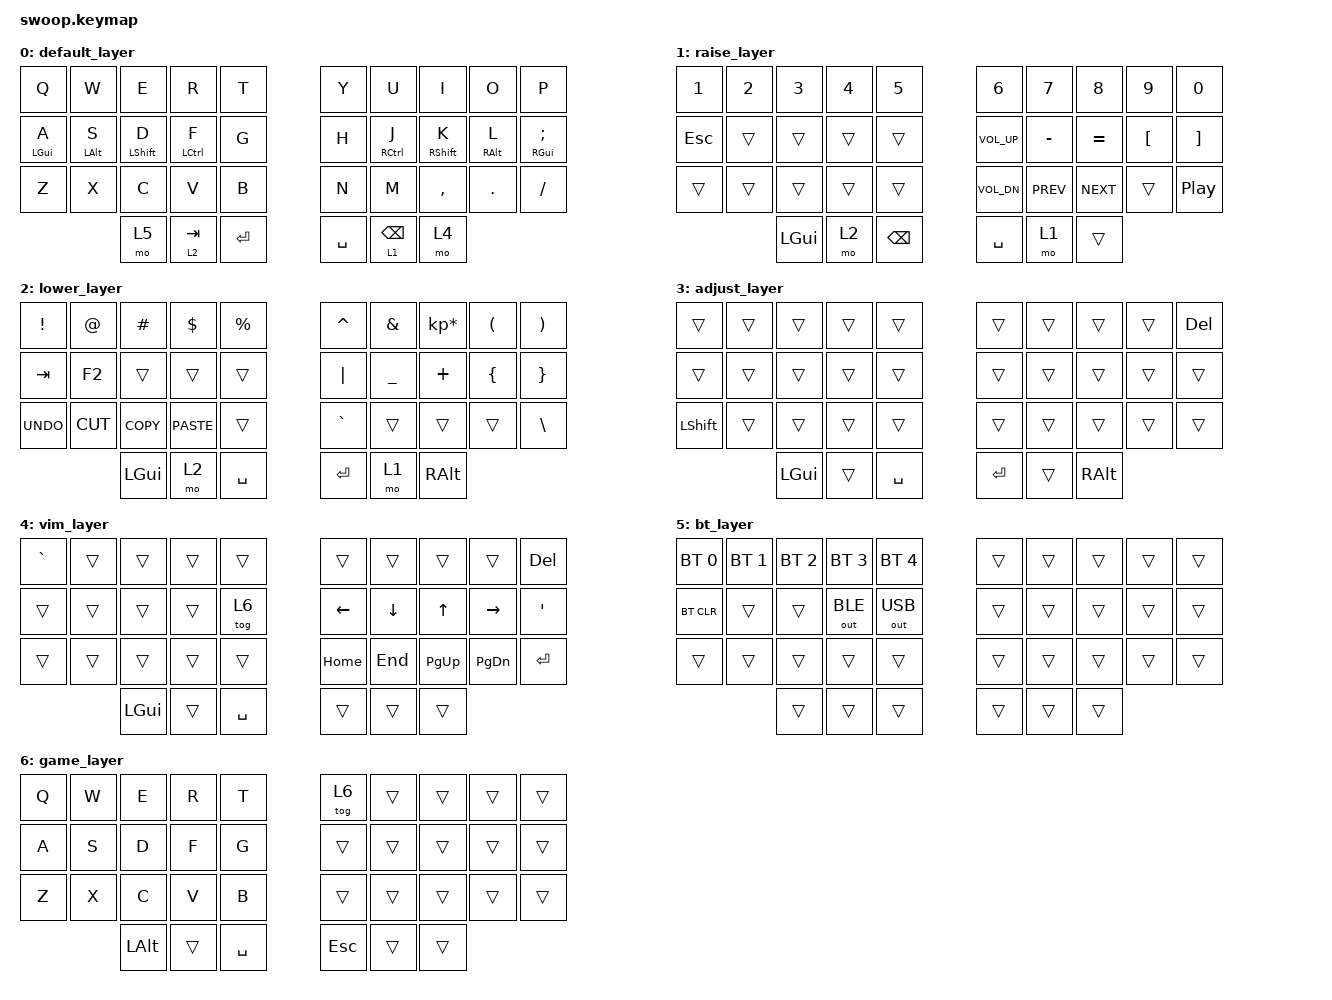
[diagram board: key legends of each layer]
/*
 * Copyright (c) 2020 The ZMK Contributors
 *
 * SPDX-License-Identifier: MIT
 */

#include <behaviors.dtsi>
#include <dt-bindings/zmk/bt.h>
#include <dt-bindings/zmk/keys.h>
#include <dt-bindings/zmk/outputs.h>

/ {
    conditional_layers {
        compatible = "zmk,conditional-layers";

        tri_layer {
            if-layers = <1 2>;
            then-layer = <3>;
        };
    };
};

&mt { tapping-term-ms = <250>; };

/ {
    behaviors {
        hm: homerow_mods {
            compatible = "zmk,behavior-hold-tap";
            label = "HOMEROW_MODS";
            #binding-cells = <2>;
            tapping-term-ms = <200>;
            quick-tap-ms = <50>;
            flavor = "tap-preferred";
            bindings = <&kp>, <&kp>;
        };
    };

    keymap {
        compatible = "zmk,keymap";

        default_layer {
            bindings = <
&kp Q       &kp W       &kp E        &kp R        &kp T      &kp Y      &kp U            &kp I        &kp O       &kp P
&hm LGUI A  &hm LALT S  &hm LSHFT D  &hm LCTRL F  &kp G      &kp H      &hm RCTRL J      &hm RSHFT K  &hm RALT L  &hm RGUI SEMI
&kp Z       &kp X       &kp C        &kp V        &kp B      &kp N      &kp M            &kp COMMA    &kp DOT     &kp FSLH
                        &mo 5        &lt 2 TAB    &kp RET    &kp SPACE  &lt 1 BACKSPACE  &mo 4
            >;
        };

        raise_layer {
            bindings = <
&kp N1   &kp N2  &kp N3    &kp N4  &kp N5      &kp N6        &kp N7      &kp N8      &kp N9    &kp N0
&kp ESC  &trans  &trans    &trans  &trans      &kp C_VOL_UP  &kp MINUS   &kp EQUAL   &kp LBKT  &kp RBKT
&trans   &trans  &trans    &trans  &trans      &kp C_VOL_DN  &kp C_PREV  &kp C_NEXT  &trans    &kp C_PP
                 &kp LGUI  &mo 2   &kp BKSP    &kp SPACE     &mo 1       &trans
            >;
        };

        lower_layer {
            bindings = <
&kp EXCL    &kp AT     &kp HASH    &kp DLLR     &kp PRCNT    &kp CARET  &kp AMPS   &kp KP_MULTIPLY  &kp LPAR  &kp RPAR
&kp TAB     &kp F2     &trans      &trans       &trans       &kp PIPE   &kp UNDER  &kp PLUS         &kp LBRC  &kp RBRC
&kp K_UNDO  &kp K_CUT  &kp K_COPY  &kp K_PASTE  &trans       &kp GRAVE  &trans     &trans           &trans    &kp BSLH
                       &kp LGUI    &mo 2        &kp SPACE    &kp RET    &mo 1      &kp RALT
            >;
        };

        adjust_layer {
            bindings = <
&trans     &trans  &trans    &trans  &trans       &trans   &trans  &trans    &trans  &kp DEL
&trans     &trans  &trans    &trans  &trans       &trans   &trans  &trans    &trans  &trans
&kp LSHFT  &trans  &trans    &trans  &trans       &trans   &trans  &trans    &trans  &trans
                   &kp LGUI  &trans  &kp SPACE    &kp RET  &trans  &kp RALT
            >;
        };

        vim_layer {
            bindings = <
&kp GRAVE  &trans  &trans    &trans  &trans       &trans    &trans    &trans     &trans     &kp DEL
&trans     &trans  &trans    &trans  &tog 6       &kp LEFT  &kp DOWN  &kp UP     &kp RIGHT  &kp APOS
&trans     &trans  &trans    &trans  &trans       &kp HOME  &kp END   &kp PG_UP  &kp PG_DN  &kp RET
                   &kp LGUI  &trans  &kp SPACE    &trans    &trans    &trans
            >;
        };

        bt_layer {
            bindings = <
&bt BT_SEL 0  &bt BT_SEL 1  &bt BT_SEL 2  &bt BT_SEL 3  &bt BT_SEL 4    &trans  &trans  &trans  &trans  &trans
&bt BT_CLR    &trans        &trans        &out OUT_BLE  &out OUT_USB    &trans  &trans  &trans  &trans  &trans
&trans        &trans        &trans        &trans        &trans          &trans  &trans  &trans  &trans  &trans
                            &trans        &trans        &trans          &trans  &trans  &trans
            >;
        };

        game_layer {
            bindings = <
&kp Q  &kp W  &kp E     &kp R   &kp T        &tog 6   &trans  &trans  &trans  &trans
&kp A  &kp S  &kp D     &kp F   &kp G        &trans   &trans  &trans  &trans  &trans
&kp Z  &kp X  &kp C     &kp V   &kp B        &trans   &trans  &trans  &trans  &trans
              &kp LALT  &trans  &kp SPACE    &kp ESC  &trans  &trans
            >;
        };
    };
};
